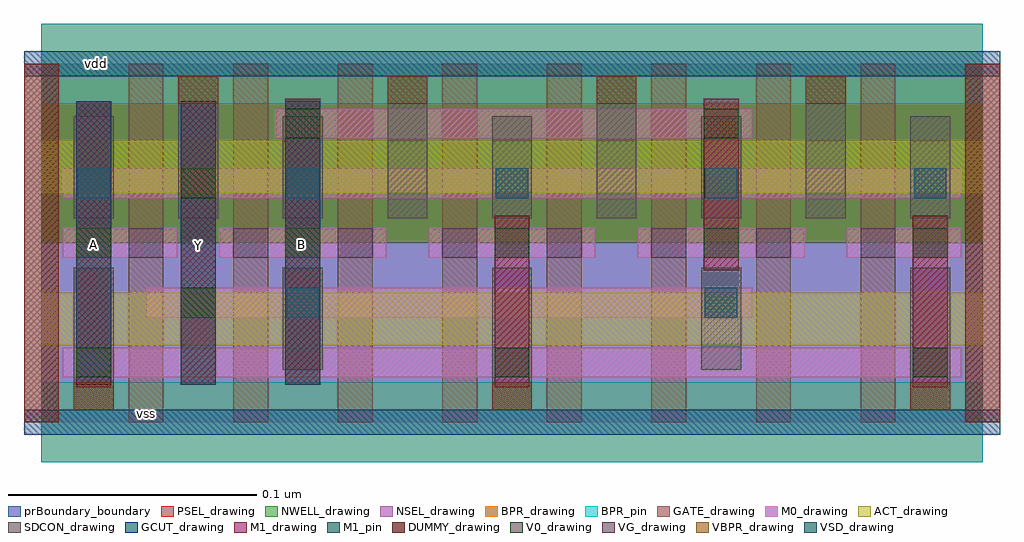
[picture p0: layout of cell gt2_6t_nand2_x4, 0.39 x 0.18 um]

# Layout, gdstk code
import gdstk
lib = gdstk.Library(unit=1e-6, precision=5e-10)
def R(c, l, rs):  # rectangles x0, y0, x1, y1
    for r in rs: c.add(gdstk.rectangle(r[:2], r[2:], *l))
def A(c, l, x, y, w, h, nx, ny, dx, dy):  # array of equal rectangles
    R(c, l, [(x+i*dx, y+j*dy, x+i*dx+w, y+j*dy+h) for i in range(nx) for j in range(ny)])
NWELL_drawing = (1, 0)
ACT_drawing = (2, 0)
GATE_drawing = (3, 0)
DUMMY_drawing = (4, 0)
GCUT_drawing = (5, 0)
NSEL_drawing = (6, 0)
PSEL_drawing = (7, 0)
BPR_drawing = (8, 0)
BPR_pin = (8, 251)
VBPR_drawing = (9, 0)
SDCON_drawing = (10, 0)
VSD_drawing = (11, 0)
VG_drawing = (12, 0)
M0_drawing = (20, 0)
V0_drawing = (22, 0)
M1_drawing = (25, 0)
M1_pin = (25, 251)
prBoundary_boundary = (235, 250)

gt2_6t_nand2_x4 = lib.new_cell('gt2_6t_nand2_x4')
R(gt2_6t_nand2_x4, NWELL_drawing, [(0,0.072,0.378,0.144)])
R(gt2_6t_nand2_x4, ACT_drawing, [(0,0.031,0.378,0.052), (0,0.092,0.378,0.113)])
A(gt2_6t_nand2_x4, GATE_drawing, -0.007, 0, 0.014, 0.144, 10, 1, 0.042, 0)
R(gt2_6t_nand2_x4, DUMMY_drawing, [(-0.007,0,0.007,0.144), (0.371,0,0.385,0.144)])
R(gt2_6t_nand2_x4, GCUT_drawing, [(-0.007,-0.005,0.385,0.005), (-0.007,0.139,0.385,0.149)])
R(gt2_6t_nand2_x4, NSEL_drawing, [(0,0,0.378,0.072)])
R(gt2_6t_nand2_x4, PSEL_drawing, [(0,0.072,0.378,0.144)])
R(gt2_6t_nand2_x4, BPR_drawing, [(0,-0.016,0.378,0.016), (0,0.128,0.378,0.16)])
R(gt2_6t_nand2_x4, BPR_pin, [(0,-0.016,0.378,0.016), (0,0.128,0.378,0.16)])
A(gt2_6t_nand2_x4, VBPR_drawing, 0.013, 0.005, 0.016, 0.011, 3, 1, 0.168, 0)
A(gt2_6t_nand2_x4, VBPR_drawing, 0.055, 0.128, 0.016, 0.011, 4, 1, 0.084, 0)
A(gt2_6t_nand2_x4, SDCON_drawing, 0.013, 0.005, 0.016, 0.057, 3, 1, 0.168, 0)
A(gt2_6t_nand2_x4, SDCON_drawing, 0.013, 0.082, 0.016, 0.041, 5, 1, 0.084, 0)
A(gt2_6t_nand2_x4, SDCON_drawing, 0.055, 0.082, 0.016, 0.057, 4, 1, 0.084, 0)
R(gt2_6t_nand2_x4, SDCON_drawing, [(0.097,0.021,0.113,0.062), (0.265,0.021,0.281,0.062)])
A(gt2_6t_nand2_x4, VSD_drawing, 0.0145, 0.09, 0.013, 0.012, 5, 1, 0.084, 0)
R(gt2_6t_nand2_x4, VSD_drawing, [(0.0985,0.042,0.1115,0.054), (0.2665,0.042,0.2795,0.054)])
A(gt2_6t_nand2_x4, VG_drawing, 0.035, 0.066, 0.014, 0.012, 8, 1, 0.042, 0)
A(gt2_6t_nand2_x4, M0_drawing, 0.0715, 0.066, 0.067, 0.012, 3, 1, 0.084, 0)
R(gt2_6t_nand2_x4, M0_drawing, [(0.0085,0.018,0.3695,0.03), (0.042,0.042,0.2855,0.054), (0.0085,0.066,0.0545,0.078), (0.3235,0.066,0.3695,0.078), (0.0085,0.09,0.3695,0.102), (0.094,0.114,0.2855,0.126)])
A(gt2_6t_nand2_x4, V0_drawing, 0.014, 0.018, 0.014, 0.012, 3, 1, 0.168, 0)
A(gt2_6t_nand2_x4, V0_drawing, 0.014, 0.066, 0.014, 0.012, 5, 1, 0.084, 0)
R(gt2_6t_nand2_x4, V0_drawing, [(0.056,0.042,0.07,0.054), (0.056,0.09,0.07,0.102), (0.098,0.114,0.112,0.126), (0.266,0.114,0.28,0.126)])
R(gt2_6t_nand2_x4, M1_drawing, [(0.014,0.014,0.028,0.129), (0.182,0.014,0.196,0.083), (0.35,0.014,0.364,0.083), (0.056,0.015,0.07,0.129), (0.098,0.015,0.112,0.13), (0.266,0.061,0.28,0.13)])
A(gt2_6t_nand2_x4, M1_pin, 0.014, 0.015, 0.014, 0.114, 3, 1, 0.042, 0)
R(gt2_6t_nand2_x4, prBoundary_boundary, [(0,0,0.378,0.144)])
gt2_6t_nand2_x4.add(gdstk.Label('vss', (0.042,0.0035), layer=8, texttype=251))
gt2_6t_nand2_x4.add(gdstk.Label('vdd', (0.022,0.144), layer=8, texttype=251))
gt2_6t_nand2_x4.add(gdstk.Label('B', (0.1045,0.0715), layer=25, texttype=251))
gt2_6t_nand2_x4.add(gdstk.Label('Y', (0.063,0.071), layer=25, texttype=251))
gt2_6t_nand2_x4.add(gdstk.Label('A', (0.021,0.0715), layer=25, texttype=251))

lib.write_gds('gt2_6t_nand2_x4.gds')
